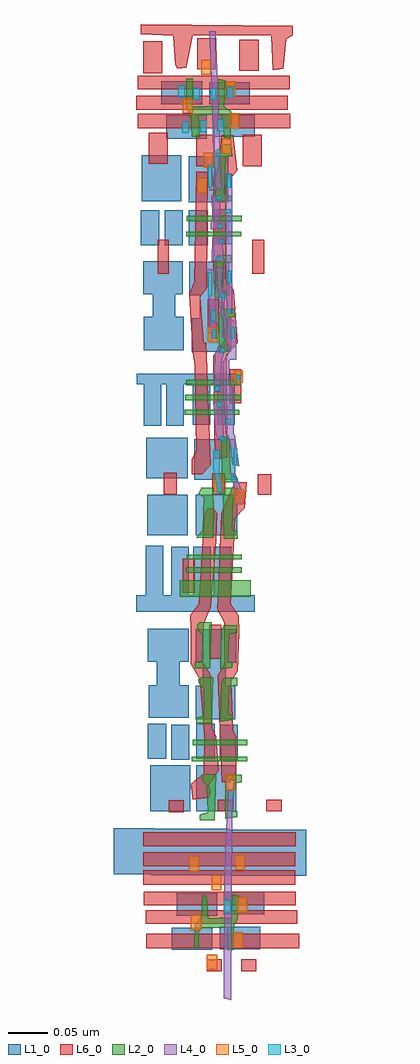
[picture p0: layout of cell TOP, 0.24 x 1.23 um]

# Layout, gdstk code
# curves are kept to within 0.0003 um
import gdstk
lib = gdstk.Library(unit=1e-6, precision=1e-09)
def R(c, l, rs):  # rectangles x0, y0, x1, y1
    for r in rs: c.add(gdstk.rectangle(r[:2], r[2:], *l))
def P(c, l, *ps):  # polygons
    for p in ps: c.add(gdstk.Polygon(p, *l))
L1_0 = (1, 0)
L2_0 = (2, 0)
L3_0 = (3, 0)
L4_0 = (4, 0)
L5_0 = (5, 0)
L6_0 = (6, 0)

top = lib.new_cell('TOP')
R(top, L1_0, [(0.266,-1.182,0.317,-1.154), (0.326,-1.181,0.377,-1.153), (0.272,-1.139,0.323,-1.111), (0.331,-1.137,0.382,-1.109), (0.336,-1.089,0.386,-1.031), (0.385,-1.089,0.435,-1.031), (0.24,-1.088,0.29,-1.03), (0.288,-1.088,0.338,-1.03), (0.193,-1.087,0.243,-1.029), (0.239,-1.008,0.289,-0.95), (0.297,-1.008,0.347,-0.95), (0.265,-0.943,0.288,-0.899), (0.326,-0.943,0.349,-0.899), (0.236,-0.942,0.259,-0.898), (0.297,-0.942,0.32,-0.898), (0.296,-0.892,0.346,-0.85), (0.237,-0.89,0.287,-0.849), (0.305,-0.85,0.334,-0.82), (0.247,-0.849,0.276,-0.819), (0.296,-0.821,0.347,-0.779), (0.236,-0.82,0.287,-0.778), (0.221,-0.757,0.37,-0.736), (0.265,-0.739,0.287,-0.675), (0.293,-0.739,0.315,-0.675), (0.319,-0.739,0.341,-0.675), (0.233,-0.738,0.255,-0.674), (0.235,-0.661,0.286,-0.61), (0.296,-0.661,0.348,-0.61), (0.294,-0.591,0.346,-0.54), (0.234,-0.589,0.286,-0.538), (0.231,-0.523,0.253,-0.459), (0.259,-0.523,0.281,-0.459), (0.292,-0.522,0.314,-0.458), (0.323,-0.522,0.345,-0.458), (0.222,-0.471,0.347,-0.458), (0.291,-0.43,0.341,-0.388), (0.231,-0.428,0.281,-0.386), (0.301,-0.388,0.329,-0.359), (0.242,-0.387,0.27,-0.357), (0.288,-0.359,0.338,-0.317), (0.23,-0.358,0.28,-0.316), (0.227,-0.296,0.25,-0.252), (0.257,-0.296,0.28,-0.252), (0.287,-0.296,0.311,-0.252), (0.318,-0.295,0.342,-0.251), (0.287,-0.242,0.337,-0.184), (0.228,-0.241,0.278,-0.183), (0.259,-0.162,0.31,-0.133), (0.319,-0.16,0.37,-0.132), (0.253,-0.119,0.304,-0.09), (0.313,-0.119,0.364,-0.091)])
R(top, L2_0, [(0.291,-0.945,0.361,-0.939), (0.292,-0.925,0.361,-0.918), (0.276,-0.738,0.365,-0.717), (0.284,-0.708,0.354,-0.701), (0.285,-0.691,0.354,-0.685), (0.282,-0.509,0.351,-0.503), (0.283,-0.491,0.353,-0.484), (0.284,-0.472,0.353,-0.465), (0.284,-0.285,0.353,-0.279), (0.285,-0.266,0.354,-0.259)])
P(top, L2_0, [(0.32,-0.363),(0.321,-0.315),(0.324,-0.308),(0.341,-0.309),(0.341,-0.318),(0.331,-0.319),(0.33,-0.353),(0.335,-0.355),(0.335,-0.362)],
  [(0.325,-0.431),(0.325,-0.383),(0.329,-0.376),(0.345,-0.376),(0.346,-0.386),(0.336,-0.387),(0.335,-0.421),(0.34,-0.423),(0.339,-0.43)],
  [(0.295,-0.828),(0.295,-0.821),(0.305,-0.818),(0.304,-0.784),(0.301,-0.783),(0.298,-0.777),(0.298,-0.773),(0.301,-0.77),(0.316,-0.77),(0.314,-0.828)],
  [(0.297,-0.897),(0.297,-0.89),(0.306,-0.887),(0.306,-0.853),(0.303,-0.852),(0.3,-0.846),(0.299,-0.842),(0.303,-0.839),(0.318,-0.839),(0.316,-0.897)],
  [(0.301,-1.019),(0.301,-1.012),(0.311,-1.009),(0.31,-0.975),(0.308,-0.974),(0.304,-0.968),(0.304,-0.964),(0.307,-0.961),(0.322,-0.961),(0.32,-1.019)],
  [(0.333,-1.017),(0.333,-0.969),(0.337,-0.961),(0.354,-0.962),(0.354,-0.971),(0.344,-0.973),(0.343,-1.007),(0.348,-1.008),(0.348,-1.015)],
  [(0.336,-1.182),(0.336,-1.154),(0.304,-1.154),(0.3,-1.159),(0.3,-1.179),(0.294,-1.179),(0.295,-1.15),(0.303,-1.141),(0.304,-1.113),(0.31,-1.114),(0.312,-1.142),(0.341,-1.141),(0.342,-1.112),(0.35,-1.114),(0.349,-1.143),(0.344,-1.152),(0.344,-1.182)],
  [(0.331,-0.665),(0.33,-0.601),(0.349,-0.601),(0.349,-0.61),(0.343,-0.614),(0.342,-0.653),(0.348,-0.656),(0.349,-0.665)],
  [(0.329,-0.594),(0.328,-0.537),(0.338,-0.538),(0.34,-0.583),(0.349,-0.589),(0.349,-0.594)],
  [(0.327,-0.829),(0.328,-0.781),(0.331,-0.774),(0.348,-0.774),(0.348,-0.784),(0.338,-0.785),(0.337,-0.819),(0.342,-0.821),(0.342,-0.827)],
  [(0.34,-0.162),(0.332,-0.161),(0.329,-0.132),(0.3,-0.132),(0.301,-0.16),(0.291,-0.16),(0.29,-0.132),(0.284,-0.124),(0.284,-0.087),(0.292,-0.086),(0.292,-0.122),(0.324,-0.121),(0.324,-0.087),(0.333,-0.089),(0.332,-0.122),(0.341,-0.128)],
  [(0.321,-0.241),(0.318,-0.18),(0.332,-0.169),(0.341,-0.169),(0.342,-0.184),(0.334,-0.185),(0.332,-0.232),(0.341,-0.234),(0.341,-0.241)],
  [(0.297,-0.664),(0.305,-0.654),(0.306,-0.613),(0.299,-0.609),(0.303,-0.601),(0.318,-0.601),(0.319,-0.631),(0.318,-0.664)],
  [(0.327,-0.895),(0.328,-0.847),(0.331,-0.84),(0.348,-0.84),(0.348,-0.85),(0.338,-0.851),(0.337,-0.885),(0.342,-0.887),(0.342,-0.893)])
R(top, L3_0, [(0.331,-1.136,0.341,-1.119), (0.341,-0.594,0.347,-0.587), (0.318,-0.579,0.326,-0.553), (0.343,-0.573,0.348,-0.552), (0.326,-0.542,0.334,-0.536), (0.334,-0.52,0.34,-0.514), (0.323,-0.5,0.329,-0.493), (0.32,-0.48,0.327,-0.473), (0.347,-0.466,0.352,-0.459), (0.326,-0.431,0.333,-0.425), (0.316,-0.414,0.322,-0.402), (0.34,-0.413,0.345,-0.399), (0.315,-0.392,0.321,-0.378), (0.336,-0.382,0.341,-0.376), (0.327,-0.363,0.333,-0.357), (0.312,-0.36,0.317,-0.33), (0.336,-0.344,0.341,-0.328), (0.321,-0.314,0.328,-0.31), (0.325,-0.293,0.332,-0.289), (0.324,-0.274,0.33,-0.269), (0.333,-0.256,0.34,-0.251), (0.322,-0.239,0.329,-0.234), (0.335,-0.224,0.341,-0.207), (0.312,-0.223,0.316,-0.196), (0.321,-0.184,0.327,-0.18), (0.279,-0.155,0.287,-0.14), (0.302,-0.154,0.31,-0.139), (0.323,-0.153,0.331,-0.138), (0.293,-0.113,0.301,-0.098), (0.314,-0.113,0.322,-0.099), (0.335,-0.111,0.343,-0.097), (0.274,-0.11,0.282,-0.095)])
P(top, L3_0, [(0.324,-0.609),(0.319,-0.579),(0.325,-0.579),(0.329,-0.594),(0.329,-0.608)])
R(top, L4_0, [(0.334,-0.982,0.345,-0.968), (0.346,-0.622,0.355,-0.608), (0.323,-0.608,0.328,-0.594), (0.347,-0.466,0.353,-0.46)])
P(top, L4_0, [(0.321,-0.227),(0.318,-0.181),(0.316,-0.1),(0.313,-0.027),(0.321,-0.027),(0.329,-0.226)],
  [(0.315,-0.276),(0.315,-0.268),(0.317,-0.262),(0.316,-0.233),(0.329,-0.234),(0.327,-0.244),(0.327,-0.269),(0.33,-0.271),(0.33,-0.276)],
  [(0.316,-0.317),(0.317,-0.286),(0.331,-0.287),(0.331,-0.293),(0.33,-0.298),(0.332,-0.316)],
  [(0.347,-0.393),(0.33,-0.392),(0.325,-0.368),(0.323,-0.346),(0.322,-0.324),(0.33,-0.324),(0.329,-0.346),(0.331,-0.356),(0.333,-0.36),(0.332,-0.371),(0.332,-0.382),(0.338,-0.387)],
  [(0.344,-0.535),(0.334,-0.534),(0.33,-0.479),(0.33,-0.443),(0.337,-0.432),(0.335,-0.418),(0.33,-0.411),(0.33,-0.392),(0.347,-0.392),(0.347,-0.44),(0.338,-0.44),(0.338,-0.473),(0.343,-0.475)],
  [(0.335,-0.382),(0.334,-0.306),(0.334,-0.205),(0.342,-0.206),(0.342,-0.382)],
  [(0.351,-0.574),(0.342,-0.572),(0.339,-0.542),(0.336,-0.534),(0.345,-0.534)],
  [(0.313,-0.227),(0.309,-0.184),(0.316,-0.184),(0.319,-0.227)],
  [(0.324,-0.419),(0.314,-0.417),(0.313,-0.375),(0.311,-0.345),(0.309,-0.325),(0.319,-0.327),(0.321,-0.379)],
  [(0.319,-0.481),(0.32,-0.433),(0.323,-0.429),(0.324,-0.423),(0.332,-0.424),(0.331,-0.433),(0.329,-0.441),(0.327,-0.481)],
  [(0.321,-0.535),(0.318,-0.493),(0.329,-0.493),(0.331,-0.535)],
  [(0.355,-0.608),(0.346,-0.607),(0.34,-0.583),(0.346,-0.583)],
  [(0.332,-0.541),(0.324,-0.54),(0.321,-0.535),(0.331,-0.535)],
  [(0.341,-1.245),(0.331,-1.243),(0.332,-1.086),(0.336,-1.003),(0.342,-1.004)],
  [(0.343,-1.006),(0.336,-1.005),(0.337,-0.971),(0.345,-0.971)])
R(top, L5_0, [(0.31,-1.207,0.323,-1.188), (0.343,-1.179,0.355,-1.16), (0.29,-1.157,0.303,-1.138), (0.349,-1.135,0.361,-1.116), (0.316,-1.107,0.328,-1.088), (0.288,-1.083,0.3,-1.064), (0.346,-1.082,0.358,-1.063), (0.334,-0.981,0.346,-0.962), (0.345,-0.621,0.357,-0.603), (0.319,-0.606,0.331,-0.587), (0.344,-0.469,0.355,-0.454), (0.311,-0.418,0.324,-0.399), (0.298,-0.23,0.31,-0.211), (0.306,-0.199,0.318,-0.18), (0.329,-0.181,0.341,-0.162), (0.339,-0.149,0.351,-0.13), (0.28,-0.13,0.292,-0.112), (0.334,-0.109,0.346,-0.09), (0.303,-0.082,0.315,-0.063)])
R(top, L6_0, [(0.31,-1.209,0.329,-1.194), (0.353,-1.209,0.372,-1.194), (0.234,-1.18,0.426,-1.162), (0.233,-1.149,0.424,-1.132), (0.231,-1.126,0.422,-1.109), (0.23,-1.1,0.421,-1.082), (0.23,-1.077,0.421,-1.059), (0.23,-1.052,0.422,-1.034), (0.262,-1.009,0.281,-0.994), (0.324,-1.008,0.343,-0.993), (0.385,-1.008,0.404,-0.993), (0.313,-0.816,0.328,-0.773), (0.28,-0.733,0.295,-0.69), (0.374,-0.61,0.391,-0.584), (0.256,-0.609,0.272,-0.582), (0.317,-0.609,0.333,-0.583), (0.339,-0.495,0.353,-0.452), (0.311,-0.407,0.325,-0.364), (0.248,-0.332,0.262,-0.289), (0.367,-0.332,0.382,-0.289), (0.297,-0.197,0.32,-0.157), (0.355,-0.197,0.379,-0.157), (0.237,-0.194,0.261,-0.155), (0.223,-0.149,0.415,-0.131), (0.221,-0.126,0.412,-0.108), (0.223,-0.1,0.414,-0.083), (0.23,-0.08,0.254,-0.04), (0.351,-0.077,0.375,-0.038), (0.298,-0.075,0.321,-0.036)])
P(top, L6_0, [(0.393,-0.076),(0.391,-0.033),(0.292,-0.032),(0.284,-0.073),(0.273,-0.074),(0.27,-0.069),(0.268,-0.033),(0.227,-0.031),(0.227,-0.018),(0.418,-0.02),(0.418,-0.032),(0.41,-0.037),(0.406,-0.074)],
  [(0.32,-0.565),(0.318,-0.435),(0.332,-0.416),(0.329,-0.36),(0.318,-0.34),(0.318,-0.212),(0.324,-0.203),(0.328,-0.158),(0.343,-0.158),(0.348,-0.202),(0.334,-0.22),(0.334,-0.339),(0.344,-0.353),(0.349,-0.419),(0.335,-0.434),(0.336,-0.563)],
  [(0.291,-0.584),(0.291,-0.566),(0.297,-0.554),(0.295,-0.447),(0.292,-0.43),(0.288,-0.358),(0.294,-0.342),(0.297,-0.204),(0.311,-0.204),(0.31,-0.351),(0.302,-0.361),(0.306,-0.418),(0.309,-0.419),(0.315,-0.573),(0.304,-0.584)],
  [(0.339,-0.972),(0.329,-0.971),(0.324,-0.837),(0.332,-0.823),(0.332,-0.77),(0.323,-0.754),(0.328,-0.633),(0.345,-0.594),(0.36,-0.594),(0.358,-0.626),(0.346,-0.639),(0.34,-0.747),(0.35,-0.762),(0.351,-0.783),(0.349,-0.831),(0.341,-0.844),(0.343,-0.906),(0.347,-0.914),(0.347,-0.958)],
  [(0.292,-0.993),(0.29,-0.974),(0.306,-0.96),(0.307,-0.912),(0.301,-0.842),(0.29,-0.822),(0.29,-0.779),(0.289,-0.761),(0.3,-0.747),(0.307,-0.636),(0.311,-0.627),(0.318,-0.627),(0.323,-0.633),(0.322,-0.668),(0.315,-0.751),(0.306,-0.772),(0.305,-0.82),(0.315,-0.836),(0.317,-0.903),(0.322,-0.914),(0.325,-0.956),(0.312,-0.976),(0.315,-0.981),(0.313,-0.991)])

lib.write_gds('TOP.gds')
